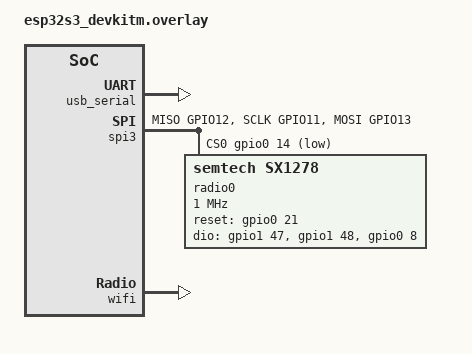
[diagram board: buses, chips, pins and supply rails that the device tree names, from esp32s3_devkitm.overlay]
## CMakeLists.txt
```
cmake_minimum_required(VERSION 3.13.1)
find_package(Zephyr REQUIRED HINTS $ENV{ZEPHYR_BASE})

project(app)

add_compile_definitions(RADIOLIB_EXCLUDE_CC1101 RADIOLIB_EXCLUDE_SX126X RADIOLIB_EXCLUDE_RF69 RADIOLIB_EXCLUDE_RFM2X RADIOLIB_EXCLUDE_SX1233)
add_compile_definitions(RADIOLIB_EXCLUDE_SX1231 RADIOLIB_EXCLUDE_SX128X RADIOLIB_EXCLUDE_SI443X RADIOLIB_EXCLUDE_NRF24)
add_compile_definitions(RADIOLIB_EXCLUDE_FSK4)

file(GLOB_RECURSE radiolib_sources
  "./lib/radiolib/src/*.cpp"
)

file(GLOB_RECURSE radiolib_zephyr_sources
  "./lib/radiolib/zephyr/src/*.cpp" 
)

file(GLOB_RECURSE zephyr_radio_driver_sources
  "./lib/radiolib/zephyr/src/drivers/radio/*.c" 
)

#add_subdirectory(./lib/radiolib)
#zephyr_compile_options(-DCONFIG_ESP_SYSTEM_GDBSTUB_RUNTIME)
target_sources(app PRIVATE src/main.cpp src/wifi.c src/config_mgr.c src/controller.c src/mqtt_thread.c src/radio.cpp ${radiolib_sources} ${radiolib_zephyr_sources} ${zephyr_radio_driver_sources})
```

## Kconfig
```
# Copyright (c) 2021 Nordic Semiconductor ASA
# SPDX-License-Identifier: Apache-2.0
#
# This file is the application Kconfig entry point. All application Kconfig
# options can be defined here or included via other application Kconfig files.
# You can browse these options using the west targets menuconfig (terminal) or
# guiconfig (GUI).

menu "Zephyr"
source "Kconfig.zephyr"
endmenu

module = GETSMART
module-str = GS
source "subsys/logging/Kconfig.template.log_config"

module = GETSMARTRADIO
module-str = GSR
source "subsys/logging/Kconfig.template.log_config"
```

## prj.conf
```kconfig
CONFIG_CPP=y

# For Ra-02 (SX1278 433Mhz) Module
CONFIG_SPI=y
CONFIG_GPIO=y

# Kernel options
#CONFIG_MAIN_STACK_SIZE=2048
CONFIG_ENTROPY_GENERATOR=y
CONFIG_TEST_RANDOM_GENERATOR=y
CONFIG_INIT_STACKS=y

CONFIG_SYS_HEAP_RUNTIME_STATS=y
CONFIG_THREAD_RUNTIME_STATS=y
#CONFIG_MEMORY_STATS=y

# Logging
CONFIG_LOG=y
CONFIG_PRINTK=y
CONFIG_LOG_MODE_IMMEDIATE=y
CONFIG_UART_CONSOLE=n
CONFIG_SERIAL=y
CONFIG_CONSOLE=y
# CONFIG_LOG_DEFAULT_LEVEL=4
# CONFIG_LOG_OVERRIDE_LEVEL=4

# Generic networking options



# Enable Wifi
CONFIG_NET_CONFIG_AUTO_INIT=n
CONFIG_NETWORKING=y
CONFIG_NET_LOG=y
CONFIG_WIFI=y
CONFIG_NET_L2_WIFI_MGMT=y
CONFIG_NET_DHCPV4=y
CONFIG_NET_L2_ETHERNET=y

CONFIG_NET_UDP=y
CONFIG_NET_TCP=y
CONFIG_NET_IPV6=n
CONFIG_NET_IPV4=y
CONFIG_NETWORKING=y
CONFIG_NET_SOCKETS=y
CONFIG_POSIX_API=y

CONFIG_POSIX_MAX_FDS=6
CONFIG_NET_CONNECTION_MANAGER=y
CONFIG_NET_STATISTICS=y

# Network buffers
CONFIG_NET_PKT_RX_COUNT=16
CONFIG_NET_PKT_TX_COUNT=16
CONFIG_NET_BUF_RX_COUNT=64
CONFIG_NET_BUF_TX_COUNT=64
CONFIG_NET_CONTEXT_NET_PKT_POOL=y

# IP address options
CONFIG_NET_MAX_CONTEXTS=10

# Network shell
CONFIG_NET_SHELL=y
CONFIG_SHELL=y
CONFIG_SHELL_CMDS=y


# Network application options and configuration
CONFIG_NET_CONFIG_SETTINGS=y

# Testing on qemu Only
#CONFIG_NET_CONFIG_NEED_IPV6=y
#CONFIG_NET_CONFIG_MY_IPV6_ADDR="2001:db8::1"
#CONFIG_NET_CONFIG_PEER_IPV6_ADDR="2001:db8::2"
#CONFIG_NET_CONFIG_NEED_IPV4=y
# CONFIG_NET_CONFIG_MY_IPV4_ADDR="192.0.2.1"
# CONFIG_NET_CONFIG_MY_IPV4_NETMASK="255.255.255.0"
# CONFIG_NET_CONFIG_MY_IPV4_GW="192.0.2.2"
# CONFIG_NET_CONFIG_PEER_IPV4_ADDR="192.0.2.2"

#MQTT Client
CONFIG_MQTT_LIB=y
#CONFIG_MQTT_LOG_LEVEL_DBG=y

# JSON Library
CONFIG_JSON_LIBRARY=y

#NVS & Flash for Config Storage
CONFIG_FLASH=y
CONFIG_FLASH_PAGE_LAYOUT=y

CONFIG_NVS=y
CONFIG_NVS_LOG_LEVEL_DBG=y
CONFIG_MPU_ALLOW_FLASH_WRITE=y
    
CONFIG_ZBUS=y
# CONFIG_ZBUS_LOG_LEVEL_DBG=y
# CONFIG_ZBUS_CHANNEL_NAME=y
# CONFIG_ZBUS_OBSERVER_NAME=y

CONFIG_ZBUS_RUNTIME_OBSERVERS=y

#CONFIG_DEBUG_COREDUMP=y 
#CONFIG_DEBUG_COREDUMP_BACKEND_LOGGING=y 


CONFIG_WATCHDOG=y
#CONFIG_ESP32_WATCHDOG=y
CONFIG_WDT_DISABLE_AT_BOOT=n
```

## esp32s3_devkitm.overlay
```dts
/ {
	aliases {
		radio0 = &radio0;
	};
};

/ {
chosen {
	zephyr,console = &usb_serial;
	zephyr,shell-uart = &usb_serial;
	};
};

&usb_serial {
	status = "okay";
};


&pinctrl {
	spim3_default: spim3_default {
		group1 {
			pinmux = <SPIM3_MISO_GPIO12>,
				 <SPIM3_SCLK_GPIO11>;
		};
		group2 {
			pinmux = <SPIM3_MOSI_GPIO13>;
			output-low;
		};
	};
};

&spi3 {
	#address-cells = <1>;
	#size-cells = <0>;
	status = "okay";
	pinctrl-0 = <&spim3_default>;
	pinctrl-names = "default";
	cs-gpios = <&gpio0 14 GPIO_ACTIVE_LOW>;
	radio0: radio@0 {
		compatible = "semtech,sx1278";
		reg = <0>;
		reset-gpios = <&gpio0 21 GPIO_ACTIVE_HIGH>;
		dio-gpios =
			/* SX1278 D00 */
			<&gpio1 47 (GPIO_PULL_DOWN | GPIO_ACTIVE_HIGH)>,
			/* SX1278 D01 */
			<&gpio1 48 (GPIO_PULL_DOWN | GPIO_ACTIVE_HIGH)>,
			/* SX1278 D02  */
			<&gpio0 8 (GPIO_PULL_DOWN | GPIO_ACTIVE_HIGH)>;
		/* manual-cs-gpios = <&gpio0 14 GPIO_ACTIVE_LOW>; */
		spi-max-frequency = <1000000>;
		/* power-amplifier-output = "pa-boost"; */
	};
};
	
&wifi {
	status = "okay";
};

/ {
    aliases {
        watchdog0 = &wdt0;
    };
};
```

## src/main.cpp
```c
#include <app_version.h>
#include <stdlib.h>
#include <string.h>
#include <zephyr/device.h>
#include <zephyr/kernel.h>
#include <zephyr/logging/log.h>
#include <zephyr/net/mqtt.h>
#include <zephyr/zbus/zbus.h>
#include <zephyr/drivers/watchdog.h>

#include "config_mgr.h"
#include "controller.h"
#include "mqtt_thread.h"
#include "radio.h"
#include "wifi.h"

controller_t *controller;

ZBUS_CHAN_DEFINE(chan_state_updates,   /* Name */
                 struct state_update,  /* Message type */
                 NULL,                 /* Validator */
                 NULL,                 /* User data */
                 ZBUS_OBSERVERS_EMPTY, /* observers */
                 ZBUS_MSG_INIT(.channel = -1, .state = -1, .brightness = -1));

/* 1000 msec = 1 sec */
#define WDT_FEED_INTERVAL_MS 1000

LOG_MODULE_REGISTER(gs, CONFIG_GETSMART_LOG_LEVEL);

extern "C"
{
  int main(void)
  {
    LOG_INF("GET Smart Wireless Lighting System Controller (%s) \n",
            APP_VERSION_STRING);

    const struct device *wdt;
    int wdt_channel_id;
    struct wdt_timeout_cfg wdt_config = {
        .window = {
            .min = 0,
            .max = 10000, // 10 seconds timeout
        },
        .callback = NULL, // NULL means system reset on timeout
        .flags = WDT_FLAG_RESET_SOC,
    };

    wdt = DEVICE_DT_GET(DT_ALIAS(watchdog0));
    if (!device_is_ready(wdt))
    {
      LOG_ERR("Watchdog device not ready");
      return -1;
    }

    wdt_channel_id = wdt_install_timeout(wdt, &wdt_config);
    if (wdt_channel_id < 0)
    {
      LOG_ERR("Watchdog install error");
      return -1;
    }

    if (wdt_setup(wdt, 0) < 0)
    {
      LOG_ERR("Watchdog setup error");
      return -1;
    }

    wifi_init();

    LOG_INF("Sleeping so wifi can connect");
    k_sleep(K_MSEC(5000));
    wdt_feed(wdt, wdt_channel_id);
    k_sleep(K_MSEC(5000));

    /* Setup the device config */
    /* TODO Move to board? */
    int res = cfg_init();
    if (res < 0)
    {
      LOG_INF("Failed to init configuration.");
      return res;
    }
    cfg_inc_boot();
    cfg_print();

    static char device_id[CFG_SIZE_DEVICEID_ID];
    // static char *device_id = "0f3def"

    cfg_get_value(CFG_DEVICEID_ID, &device_id, CFG_SIZE_DEVICEID_ID);

    controller = (controller_t *)malloc(sizeof(controller_t));
    controller->num_lights = 2; // TODO
    controller->device_id = device_id;
    controller->state_update_channel = (struct zbus_channel *)&chan_state_updates;

    // LOG_INF("radio pointer (main): %p", (void *)&controller->radio);

    mqtt_thread_init(controller);

    radio_init();

    while (1)
    {
      k_sleep(K_SECONDS(1));
      wdt_feed(wdt, wdt_channel_id);
    }

    return 0;
  }
}
```

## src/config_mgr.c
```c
#include "config_mgr.h"

#include <errno.h>
#include <string.h>
#include <sys/types.h>
#include <zephyr/drivers/flash.h>
#include <zephyr/fs/nvs.h>
#include <zephyr/logging/log.h>
#include <zephyr/storage/flash_map.h>

LOG_MODULE_DECLARE(gs, CONFIG_GETSMART_LOG_LEVEL);

/* 1000 msec = 1 sec */
#define SLEEP_TIME 100

#define NVS_PARTITION storage_partition
#define NVS_PARTITION_DEVICE FIXED_PARTITION_DEVICE(NVS_PARTITION)
#define NVS_PARTITION_OFFSET FIXED_PARTITION_OFFSET(NVS_PARTITION)

/* Maximum length of srtings in config */
#define VALUE_STRING_MAXLEN 128

static struct nvs_fs fs;
static bool initialized = false;

// static default_device_id = DEFAULT_DEVICE_ID;
static char default_device_id[CFG_SIZE_DEVICEID_ID] = DEFAULT_DEVICE_ID;

// sys_rand_get(void *dst, size_t len)

static void cfg_set_defaults()
{
  LOG_INF("Setting default config values.");
  uint32_t reboot_counter = 0U;
  int rc = 0;
  rc = cfg_get_value(CFG_REBOOTCNT_ID, &reboot_counter, sizeof(reboot_counter));
  if (rc <= 0)
  {
    LOG_INF("No Reboot counter found, adding it at slot %d\n",
            CFG_REBOOTCNT_ID);
    cfg_set_value(CFG_REBOOTCNT_ID, &reboot_counter, sizeof(reboot_counter));
  }

  char device_id[CFG_SIZE_DEVICEID_ID];
  rc = cfg_get_value(CFG_DEVICEID_ID, &device_id, CFG_SIZE_DEVICEID_ID);
  if (rc <= 0)
  {
    LOG_INF("No device id found, adding it '%s' at slot %d\n", &  default_device_id, CFG_DEVICEID_ID);
    cfg_set_value(CFG_DEVICEID_ID, &default_device_id,
                  strlen(default_device_id) + 1);
  }
}

int cfg_init()
{
  if (initialized)
  {
    return -ENOTSUP;
  }
  int rc = 0;
  struct flash_pages_info info;

  /* define the nvs file system by settings with:
   *      sector_size equal to the pagesize,
   *      3 sectors
   *      starting at NVS_PARTITION_OFFSET
   */
  fs.flash_device = NVS_PARTITION_DEVICE;
  if (!device_is_ready(fs.flash_device))
  {
    printk("Flash device %s is not ready\n", fs.flash_device->name);
    return -1;
  }
  fs.offset = NVS_PARTITION_OFFSET;
  rc = flash_get_page_info_by_offs(fs.flash_device, fs.offset, &info);
  if (rc)
  {
    printk("Unable to get page info\n");
    return -1; // TODO
  }
  fs.sector_size = info.size;
  fs.sector_count = 4U;

  rc = nvs_mount(&fs);
  if (rc)
  {
    printk("Flash Init failed. ERRNO: %d\n", rc);
    return -1; // TODO
  }
  cfg_set_defaults();
  initialized = true;
  return 0;
}

ssize_t cfg_get_value(int key, void *value, int len)
{
  return nvs_read(&fs, key, value, len);
}

ssize_t cfg_set_value(int key, void *value, int len)
{
  return nvs_write(&fs, key, value, len);
}

void cfg_print()
{
  uint32_t reboot_counter = 0U;
  cfg_get_value(CFG_REBOOTCNT_ID, &reboot_counter, sizeof(reboot_counter));
  LOG_INF("Config Slot [%d] - CFG_REBOOTCNT_ID: %d", CFG_REBOOTCNT_ID,
          reboot_counter);

  char device_id[VALUE_STRING_MAXLEN];
  cfg_get_value(CFG_DEVICEID_ID, &device_id, CFG_SIZE_DEVICEID_ID);
  LOG_INF("Config Slot [%d] - CFG_DEVICEID_ID: %s", CFG_DEVICEID_ID, device_id);
}

/* Increment the device boot count*/
bool cfg_inc_boot()
{
  uint32_t reboot_counter = 0U;
  int rc = 0;
  rc = cfg_get_value(CFG_REBOOTCNT_ID, &reboot_counter, sizeof(reboot_counter));
  if (rc <= 0)
  {
    return false;
  }
  reboot_counter++;
  rc = cfg_set_value(CFG_REBOOTCNT_ID, &reboot_counter, sizeof(reboot_counter));
  if (rc <= 0)
  {
    return false;
  }
  return true;
}
```

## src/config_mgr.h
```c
#ifndef __GET_CONFIG_MGR__
#define __GET_CONFIG_MGR__
#include <stdbool.h>
#include <sys/types.h>

/* Config Keys */
#define CFG_REBOOTCNT_ID 1
#define CFG_DEVICEID_ID 2

#define CFG_SIZE_DEVICEID_ID 7

// #if defined(CONFIG_WIFI)
// #else
#define DEFAULT_DEVICE_ID "0f3def"
// #endif

#ifdef __cplusplus
extern "C"
{
#endif

    int cfg_init();
    void cfg_print();
    bool cfg_inc_boot();
    ssize_t cfg_get_value(int key, void *value, int len);
    ssize_t cfg_set_value(int key, void *value, int len);

#ifdef __cplusplus
}
#endif

#endif /*__GET_CONFIG_MGR__*/
```

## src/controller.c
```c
#include "controller.h"

#include <stdint.h>
#include <stdlib.h>
#include <zephyr/kernel.h>
#include <zephyr/logging/log.h>
#include <zephyr/zbus/zbus.h>

#include "radio.h"

LOG_MODULE_DECLARE(gs, CONFIG_GETSMART_LOG_LEVEL);

static const uint8_t pulses[] = PULSESEQ;

static uint8_t code_to_tx_payload(uint8_t *seq, uint8_t len_seq,
                                  uint8_t **msg) {
  LOG_INF("Code to payload, %d", len_seq);
  LOG_HEXDUMP_INF(seq, len_seq, "Seq: ");

  *msg = (uint8_t *)malloc(TRANSMIT_BUF_SIZE);

  (*msg)[0] = 0x54;
  (*msg)[1] = 0x2A;
  (*msg)[2] = 0xAA;
  (*msg)[3] = 0xA5;
  (*msg)[4] = 0x55;
  (*msg)[5] = 0x55;

  uint32_t code = 0x40000000;
  uint8_t bit = 27;
  for (int i = 0; i < len_seq; i++) {
    for (int j = seq[i]; j > 0; j--) {
      code |= 1 << bit;
      bit -= 2;
    }
    bit -= 1;
  }
  // code |= 1 << (bit - 2);

  (*msg)[6] = code >> 24;
  (*msg)[7] = code >> 16;
  (*msg)[8] = code >> 8;
  (*msg)[9] = code;
  (*msg)[10] = 0x00;  // TODO: Not part of the message, needs more testing
  return TRANSMIT_BUF_SIZE;
}

/**
 * Convert the Channel and OP code combo to the bytes to be transmitted
 * by the radio.
 */
static uint8_t get_radio_msg(uint8_t channel, uint8_t op, uint8_t pulse_no,
                             uint8_t **msg) {
  // Get the pattern to be transmitted
  uint8_t seq[PLUSESEQ_SIZE - 1];
  uint8_t len_seq;

  uint8_t index =
      ((channel * ROWS_PER_CHANNEL) + pulse_no + op) * PLUSESEQ_SIZE;

  // First byte of the "row" is length of the pluse sequence
  memcpy(&len_seq, &pulses, sizeof(uint8_t));
  LOG_INF("Len of seq is:%d", len_seq);

  // remainder of row is the actual sequence for this channel/op combo
  LOG_INF("Coping from index %d",
          (channel * PLUSESEQ_SIZE) + op + 1 + pulse_no);

  memcpy(&seq, pulses + index + 1, sizeof(uint8_t) * len_seq);

  // Convert it to the actual byte sequence to be transmitted
  return code_to_tx_payload((uint8_t *)&seq, len_seq, msg);
}

/**
 * Publish the state update message on the zbus
 */
static void update_state(struct controller *controller, int channel, int state,
                         int brightness) {
  controller->state[channel].state = state,
  controller->state[channel].brightness = brightness;

  struct state_update update = {channel, state, brightness};
  int res =
      zbus_chan_pub(controller->state_update_channel, &(update), K_FOREVER);
  LOG_INF("Updated State: channel %d, status:%d, brightness %d, Published: %d",
          channel, state, brightness, res);
}

static int ctlr_on(struct controller *controller, int channel) {
  LOG_INF("Radio Send: Channel %d, Code: ON", channel);
  uint8_t *msg = NULL;
  uint8_t len = get_radio_msg(channel, OP_ON, 0, &msg);
  LOG_HEXDUMP_INF(msg, TRANSMIT_BUF_SIZE, "Msg: ");
  radio_tx_repeat(msg, len, 4);
  free(msg);
  update_state(controller, channel, STATE_ON, DIM_LEVELS);
  return 0;
}

static int ctlr_off(struct controller *controller, int channel) {
  LOG_INF("Radio Send: Channel %d, Code: OFF", channel);
  uint8_t *msg = NULL;
  uint8_t len = get_radio_msg(channel, OP_OFF, 0, &msg);
  radio_tx_repeat(msg, len, 4);
  free(msg);
  update_state(controller, channel, STATE_OFF, 0);
  return 0;
}

static int ctlr_dim_up(struct controller *controller, int channel, int steps) {
  LOG_INF("Radio Send: Channel %d, Dim Up: %d", channel, steps);
  uint8_t *msg0 = NULL;
  uint8_t *msg1 = NULL;

  uint8_t len0 = get_radio_msg(channel, OP_DIM_DOWN, 0, &msg0);
  uint8_t len1 = get_radio_msg(channel, OP_DIM_DOWN, 1, &msg1);

  for (int i = 0; i < steps; i++) {
    radio_tx(msg0, len0);
    radio_tx(msg1, len1);
    k_sleep(K_MSEC(5));
  }

  free(msg0);
  free(msg1);

  update_state(controller, channel, STATE_ON,
               controller->state[channel].brightness + steps);
  return 0;
}

static int ctlr_dim_down(struct controller *controller, int channel,
                         int steps) {
  LOG_INF("Radio Send: Channel %d, Dim Down: %d", channel, steps);
  uint8_t *msg0 = NULL;
  uint8_t *msg1 = NULL;
  uint8_t len0 = get_radio_msg(channel, OP_DIM_DOWN, 0, &msg0);
  uint8_t len1 = get_radio_msg(channel, OP_DIM_DOWN, 1, &msg1);

  radio_tx(msg0, len0);
  radio_tx(msg1, len1);

  for (int i = 0; i < steps; i++) {
    radio_tx(msg0, len0);
    radio_tx(msg1, len1);
    k_sleep(K_MSEC(5));
  }
  free(msg0);
  free(msg1);
  update_state(controller, channel, STATE_ON,
               controller->state[channel].brightness - steps);
  return 0;
}

/**
 * Transmit the required radio signals to transition the lights
 * from current state to the requested, and if successful publish
 * the new state on the zbus.
 */
int request_state(struct controller *controller, int channel, int state,
                  bool set_brightness, int brightness) {
  LOG_INF("Current State: status:%d, brightness %d",
          controller->state[channel].state,
          controller->state[channel].brightness);
  LOG_INF("Request State: status:%d, brightness %d", state, brightness);

  if (channel >= controller->num_lights) {
    LOG_ERR("Light for channel %d not configured.", channel);
    return -EINVAL;
  }

  if (controller->state[channel].state != state) {
    if (state == STATE_ON) {
      ctlr_on(controller, channel);
    } else {
      ctlr_off(controller, channel);
    }
  }
  if (set_brightness && controller->state[channel].brightness != brightness) {
    if (brightness <= 1) {
      // ctlr_off(controller, channel);
    } else if (brightness > DIM_LEVELS) {
      LOG_ERR("Cannot exceed %d brightness levels", DIM_LEVELS);
    } else {
      int diff = brightness - controller->state[channel].brightness;
      if (diff > 0) {
        ctlr_dim_up(controller, channel, diff);
      } else {
        ctlr_dim_down(controller, channel, abs(diff));
      }
    }
  }

  return 0;
}
```

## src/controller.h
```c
#ifndef __CONTROLLER__
#define __CONTROLLER__
#include <stdbool.h>
#include <stdint.h>
#include <zephyr/kernel.h>
#include <zephyr/zbus/zbus.h>

/** Controller Channels (i.e. 4 Lights or Scenes) */

#define CHANNEL_0 0
#define CHANNEL_1 1
#define CHANNEL_2 2
#define CHANNEL_3 3
#define CHANNEL_COUNT 4  // I only have 2 lights

/** Controller Operations (as transmitted by the remote switch) */
#define OP_ON 0
#define OP_OFF 1
#define OP_DIM_UP 2
#define OP_DIM_DOWN 3
#define OP_COUNT 4

#define STATE_OFF 0
#define STATE_ON 1

/** Number of button presses to go from full brightness to off */
#define DIM_LEVELS 64

#define ROWS_PER_CHANNEL 6
/**
 * Each row has a Pulse Sequence Length, followed by the sequence
 * of 1s that get transmitted before another 0 gets transmitted.
 *
 * Lists all the Controller Operations for each channel beginning
 * at OP_ON for CHANNEL_0
 */
// clang-format off
#define PULSESEQ {4, 4, 3, 1, 2, 0, 0, \
                  2, 4, 6, 0, 0, 0, 0, \
                  4, 4, 1, 1, 0, 0, 0, \
                  6, 5, 1, 1, 1, 1, 1, \
                  4, 4, 3, 2, 1, 0, 0, \
                  6, 5, 1, 1, 1, 1, 1, \
                  4, 3, 4, 1, 2, 0, 0, \
                  2, 3, 7, 0, 0, 0, 0, \
                  3, 3, 5, 1, 1, 0, 0, \
                  6, 5, 1, 1, 1, 1, 1, \
                  4, 3, 4, 2, 1, 0, 0, \
                  6, 5, 1, 1, 1, 1, 1} 
 // clang-format on    

/** Size of a row above */
#define PLUSESEQ_SIZE 7

/* Number of byes in the actual message transmitted by the radio*/
#define TRANSMIT_BUF_SIZE 11

struct light_state {
  int state;
  int brightness;
};

typedef struct controller {
  struct zbus_channel *state_update_channel;
  char* device_id;
  uint8_t num_lights;
  struct light_state state[CHANNEL_COUNT];
} controller_t;

struct state_update {
  int channel;
  int state;
  int brightness;
};

typedef struct f_sum {
  sys_snode_t snode;
  struct state_update su;
} f_sum_t;

#ifdef __cplusplus
extern "C" {
#endif

int request_state(struct controller *controller, int channel, int state,
                  bool set_brightness, int brightness);

#ifdef __cplusplus
}
#endif

#endif /* __CONTROLLER__ */
```

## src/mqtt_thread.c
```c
#include <stdbool.h>
#include <stdio.h>
#include <stdlib.h>
#include <string.h>
#include <zephyr/data/json.h>
#include <zephyr/kernel.h>
#include <zephyr/logging/log.h>
#include <zephyr/net/mqtt.h>
#include <zephyr/net/net_context.h>
#include <zephyr/net/net_core.h>
#include <zephyr/net/net_mgmt.h>
#include <zephyr/net/socket.h>
#include <zephyr/random/random.h>
#include <zephyr/sys/printk.h>
#include <zephyr/zbus/zbus.h>

#include "controller.h"

LOG_MODULE_DECLARE(gs, CONFIG_GETSMART_LOG_LEVEL);

#define MQTT_HA_DISCOVER_TOPIC "homeassistant/light/getsmart/%s-%d/config"
#define MQTT_STATE_TOPIC "getsmart/device/%s/channel/%d/state"
#define MQTT_COMMAND_TOPIC "getsmart/device/%s/channel/%d/cmnd"

#define MQTT_UPDATE_STATE_PAYLOAD "{\"state\":\"%s\", \"brightness\":%d}"

#define MQTT_HA_DISCOVER_PAYLOAD                                              \
  "{\"name\":\"%s\",\"unique_id\":\"%s\", "                                   \
  "\"command_topic\":\"%s\",\"state_topic\":\"%s\","                          \
  "\"schema\":\"json\",\"brightness\":true,\"brightness_scale\":64,"          \
  "\"device\": {\"identifiers\": \"[%s]\",\"name\":\"Get Smart Controller\" " \
  "} }"

#define MQTT_STATE_ON "ON"

typedef struct msg_command
{
  char *state;
  int brightness;
} msg_command_t;

static const struct json_obj_descr msg_command_descr[] = {
    JSON_OBJ_DESCR_PRIM(struct msg_command, state, JSON_TOK_STRING),
    JSON_OBJ_DESCR_PRIM(struct msg_command, brightness, JSON_TOK_NUMBER),
};

/* Thread Stack */
#define STACKSIZE 4096
#define APP_MQTT_BUFFER_SIZE 128
#define CONFIG_MQTT_PAYLOAD_BUFFER_SIZE 4256

K_THREAD_STACK_DEFINE(mqtt_thread_stack, STACKSIZE);

K_MUTEX_DEFINE(sock_lock);

/* Thread Data */
struct k_thread mqtt_thread_data;

/* MQTT Client Struct */
static struct mqtt_client client;

/* MQTT Client Connection Status */
static bool is_connected = false;
static bool is_ha_published = false;
static bool is_cmnd_subscribed = false;

/* pointer to the controller */
static controller_t *controller;

/* MQTT Broker details. */
static struct sockaddr_storage broker;

/* MQTT Broker Details */
static const char server_addr[] = "192.168.0.10";
// static const char server_addr[] = "192.168.1.71";
static uint16_t server_port = 1883;
static const char *username = "demonday";
static const char *password = "armad1ll0";

static struct mqtt_utf8 username_utf8;
static struct mqtt_utf8 password_utf8;

/* Client Identifer TODO: Based on MAC*/
static const char *client_id = "get-smart-MAC";

/* Buffers for MQTT client. */
static uint8_t rx_buffer[APP_MQTT_BUFFER_SIZE];
static uint8_t tx_buffer[APP_MQTT_BUFFER_SIZE];
static uint8_t payload_buf[CONFIG_MQTT_PAYLOAD_BUFFER_SIZE];

#define SOCKET_TIMEOUT_MS 2000

/* File descriptor for socket */
static struct pollfd fds;

int fds_init(struct pollfd *fds)
{
  if (client.transport.type == MQTT_TRANSPORT_NON_SECURE)
  {
    fds->fd = client.transport.tcp.sock;
  }
  else
  {
    return -ENOTSUP;
  }

  fds->events = POLLIN;

  return 0;
}

static void data_print(uint8_t *prefix, uint8_t *data, size_t len)
{
  char buf[len + 1];

  memcpy(buf, data, len);
  buf[len] = 0;
  LOG_INF("%s%s", (char *)prefix, (char *)buf);
}

static int get_received_payload(size_t length)
{
  int ret;
  int err = 0;

  /* Return an error if the payload is larger than the payload buffer.
   * Note: To allow new messages, we have to read the payload before returning.
   */
  if (length > sizeof(payload_buf))
  {
    err = -EMSGSIZE;
  }

  /* Truncate payload until it fits in the payload buffer. */
  while (length > sizeof(payload_buf))
  {
    ret = mqtt_read_publish_payload_blocking(&client, payload_buf,
                                             (length - sizeof(payload_buf)));
    if (ret == 0)
    {
      return -EIO;
    }
    else if (ret < 0)
    {
      return ret;
    }

    length -= ret;
  }

  ret = mqtt_readall_publish_payload(&client, payload_buf, length);
  if (ret)
  {
    return ret;
  }

  return err;
}

static void extract_device_info(const char *topic_name, char **device_id,
                                int *channel)
{
  // getsmart/device/0f3def/channel/0/cmnd

  char *token, *temp_str;
  int count = 0;

  // Ensure the input string is not NULL
  if (topic_name == NULL)
  {
    return;
  }

  // Duplicate the string since strtok modifies the string
  // temp_str =  strdup(topic_name);

  temp_str = malloc(strlen(topic_name));
  strcpy(temp_str, topic_name);
  if (temp_str == NULL)
  {
    LOG_INF("strcpy failed.");
    return;
  }

  token = strtok(temp_str, "/");

  while (token != NULL)
  {
    count++;
    if (count == 3)
    { // Assuming device_id is always the 4 token
      *device_id = malloc(strlen(topic_name));
      strcpy(*device_id, token);
      //*device_id = strdup(token);
      if (*device_id == NULL)
      {
        // Handle memory allocation failure
        free(temp_str);
        return;
      }
    }
    if (count == 5)
    { // Assuming the channel is always the 5
      *channel = atoi(token);
      break;
    }
    token = strtok(NULL, "/");
  }

  free(temp_str); // Free the temporary string
}

static void handle_msg_command(char *topic_name, char *msg)
{
  char *device_id = NULL;
  int channel = 0;

  extract_device_info(topic_name, &device_id, &channel);

  if (device_id == NULL)
  {
    LOG_ERR("Unable to obtain deviceid from message. Skipping");
    return;
  }

  struct msg_command command;
  int ret = json_obj_parse(msg, strlen(msg), msg_command_descr,
                           sizeof(msg_command_descr), &command);

  bool set_brightness = (ret == 3);
  if (ret != 3)
  {
    LOG_DBG("No brightness in MQTT state message");
  }

  LOG_INF("Device:%s, Channel:%d, State: %s, Brightness: %d", device_id,
          channel, command.state, command.brightness);

  int state =
      (strcmp(command.state, MQTT_STATE_ON) == 0) ? STATE_ON : STATE_OFF;
  request_state(controller, channel, state, set_brightness, command.brightness);

  if (device_id != NULL)
  {
    free(device_id); // Free the device_id string
  }
}

/* Subscribe to the MQTT Topic(s) to control the device */
static int subscribe_cmnds()
{
  struct mqtt_topic topic_list[4];

  for (int i = 0; i < controller->num_lights; i++)
  {
    char buf[256];
    sprintf(buf, MQTT_COMMAND_TOPIC, controller->device_id, i);
    char *topic_name = malloc(strlen(buf) + 1);
    strcpy(topic_name, buf);
    LOG_INF("Created Topic %s", topic_name);

    struct mqtt_topic subscribe_topic = {
        .topic = {.utf8 = topic_name, .size = strlen(topic_name)},
        .qos = MQTT_QOS_1_AT_LEAST_ONCE};

    topic_list[i] = subscribe_topic;
    LOG_INF("Subscribing to: %s len %u", topic_name,
            (unsigned int)strlen(topic_name));
  }

  const struct mqtt_subscription_list subscription_list = {
      .list = (struct mqtt_topic *)&topic_list,
      .list_count = controller->num_lights,
      .message_id = 1234};

  int res = mqtt_subscribe(&client, &subscription_list);

  // for (int i = 0; i < controller->num_lights; i++) {
  //   free((void *)topic_list[i].topic.utf8);
  // }

  return res;
}

// static int unsubscribe_cmnds(struct mqtt_client *const client) {
//   return 0;  // TODO
// }

int publish_hadiscover()
{
  struct mqtt_publish_param param;
  int res = 0;
  for (int i = 0; i < controller->num_lights; i++)
  {
    char buf[512];

    sprintf(buf, MQTT_HA_DISCOVER_TOPIC, controller->device_id, i);
    char *topic_name = malloc(strlen(buf));
    strcpy(topic_name, buf);

    sprintf(buf, MQTT_COMMAND_TOPIC, controller->device_id, i);
    char *tn_cmnd = malloc(strlen(buf));
    strcpy(tn_cmnd, buf);

    sprintf(buf, MQTT_STATE_TOPIC, controller->device_id, i);
    char *tn_state = malloc(strlen(buf));
    strcpy(tn_state, buf);

    char device_id[20];
    sprintf(device_id, "%s-%d", controller->device_id, i);

    char device_name[40];
    sprintf(device_name, "Get Smart Light  - Channel %d", i);

    sprintf(buf, MQTT_HA_DISCOVER_PAYLOAD, device_name, device_id, tn_cmnd,
            tn_state, controller->device_id);
    char *payload = malloc(strlen(buf));
    strcpy(payload, buf);

    param.message.topic.qos = MQTT_QOS_0_AT_MOST_ONCE;
    param.message.topic.topic.utf8 = (uint8_t *)topic_name;
    param.message.topic.topic.size = strlen(param.message.topic.topic.utf8);
    param.message.payload.data = (uint8_t *)payload;
    param.message.payload.len = strlen(param.message.payload.data);
    param.message_id = sys_rand32_get();
    param.dup_flag = 0U;
    param.retain_flag = 0U;

    k_mutex_lock(&sock_lock, K_FOREVER);
    LOG_INF("Publishing to %s", topic_name);
    res = mqtt_publish(&client, &param);
    k_mutex_unlock(&sock_lock);

    free(topic_name);
    free(tn_cmnd);
    free(tn_state);
    free(payload);

    if (res != 0)
    {
      LOG_ERR("Error - Publish HA Discover: %d", res);
      return res;
    }
  }
  return 0;
}

int publish_state_update(struct state_update *su)
{
  struct mqtt_publish_param param;

  char topic_name[256];
  sprintf(topic_name, MQTT_STATE_TOPIC, controller->device_id, su->channel);

  char payload[256];
  sprintf(payload, MQTT_UPDATE_STATE_PAYLOAD,
          (su->state == STATE_ON) ? "ON" : "OFF", su->brightness);

  param.message.topic.qos = MQTT_QOS_0_AT_MOST_ONCE;
  param.message.topic.topic.utf8 = (uint8_t *)&topic_name;
  param.message.topic.topic.size = strlen(param.message.topic.topic.utf8);
  param.message.payload.data = (uint8_t *)&payload;
  param.message.payload.len = strlen(param.message.payload.data);
  param.message_id = sys_rand32_get();
  param.dup_flag = 0U;
  param.retain_flag = 0U;

  // LOG_INF("Calling publish");
  k_mutex_lock(&sock_lock, K_FOREVER);
  // LOG_INF("Mutex - P - L");
  LOG_INF("Publishing state update to %s", topic_name);
  int res = mqtt_publish(&client, &param);
  k_mutex_unlock(&sock_lock);
  // LOG_INF("Mutex - P - U");
  if (res != 0)
  {
    LOG_ERR("Error - Publish Result: %d", res);
  }

  return res;
}

ZBUS_SUBSCRIBER_DEFINE(state_update_subscriber, 4);

static void mqtt_subscriber_task(void)
{
  const struct zbus_channel *chan;

  while (!zbus_sub_wait(&state_update_subscriber, &chan, K_FOREVER))
  {
    struct state_update update;

    if (controller->state_update_channel == chan)
    {
      zbus_chan_read(controller->state_update_channel, &update, K_FOREVER);

      LOG_INF("From subscriber -> %d,%d,%d", update.channel, update.state,
              update.brightness);

      publish_state_update(&update);
    }
  }
}

K_THREAD_DEFINE(subscriber_task_id, CONFIG_MAIN_STACK_SIZE,
                mqtt_subscriber_task, NULL, NULL, NULL, 3, 0, 0);

/* MQTT Message Handler */
void mqtt_message_handler(struct mqtt_client *, const struct mqtt_evt *evt)
{
  int err;
  LOG_INF("Started processing event type %d\n", evt->type);

  switch (evt->type)
  {
  case MQTT_EVT_CONNACK:
    if (evt->result != 0)
    {
      LOG_INF("MQTT connect failed %d\n", evt->result);
    }
    else
    {
      LOG_INF("MQTT client connected!\n");
      is_connected = true;
      err = subscribe_cmnds();
      if (err)
      {
        LOG_INF("State TOPIC Subscription request failed %d\n", err);
      }
      err = publish_hadiscover();
      if (err)
      {
        LOG_INF("State HA Publish failed %d\n", err);
      }
    }
    break;

  case MQTT_EVT_PUBLISH:
    const struct mqtt_publish_param *p = &evt->param.publish;
    LOG_INF("Received message on TOPIC: %s, result=%d len=%d",
            p->message.topic.topic.utf8, evt->result, p->message.payload.len);

    // Extract the data of the recived message
    err = get_received_payload(p->message.payload.len);
    //  On successful extraction of data
    if (err >= 0)
    {
      data_print("Received: ", payload_buf, p->message.payload.len);
      handle_msg_command((char *)p->message.topic.topic.utf8, payload_buf);
      // On failed extraction of data - Payload buffer is smaller than the
      // recived data . Increase
    }
    else if (err == -EMSGSIZE)
    {
      LOG_ERR(
          "Received payload (%d bytes) is larger than the payload buffer "
          "size (%d bytes).",
          p->message.payload.len, sizeof(payload_buf));
    }
    else
    {
      LOG_ERR("get_received_payload failed: %d. Don't send any acks...", err);
      break;
    }

    /* Send the appropiate QoS response */
    if (evt->param.publish.message.topic.qos == MQTT_QOS_1_AT_LEAST_ONCE)
    {
      const struct mqtt_puback_param ack = {
          .message_id = evt->param.publish.message_id};
      mqtt_publish_qos1_ack(&client, &ack);
    }
    else if (evt->param.publish.message.topic.qos ==
             MQTT_QOS_2_EXACTLY_ONCE)
    {
      const struct mqtt_pubrec_param rec = {
          .message_id = evt->param.publish.message_id};
      mqtt_publish_qos2_receive(&client, &rec);
    }
    break;

  case MQTT_EVT_PUBREC:
    if (evt->param.pubrec.message_id == 1234)
    {
      const struct mqtt_pubrel_param rel = {.message_id =
                                                evt->param.pubrec.message_id};
      mqtt_publish_qos2_release(&client, &rel);
    }
    break;

  case MQTT_EVT_PUBREL:
    if (evt->param.pubrel.message_id == 1234)
    {
      const struct mqtt_pubcomp_param comp = {
          .message_id = evt->param.pubrel.message_id};
      err = mqtt_publish_qos2_complete(&client, &comp);
      if (err)
      {
        LOG_INF("Failed to send PUBCOMP, error: %d\n", err);
      }
    }
    break;

  case MQTT_EVT_PUBCOMP:
    if (evt->param.pubcomp.message_id == 1234)
    {
      LOG_INF("QoS 2 message flow completed!\n");
    }
    break;

  case MQTT_EVT_SUBACK:
    if (evt->result != 0)
    {
      LOG_ERR("MQTT SUBACK error %d", evt->result);
      break;
    }

    LOG_INF("SUBACK packet id: %u", evt->param.suback.message_id);
    break;

  case MQTT_EVT_DISCONNECT:
    LOG_INF("MQTT client disconnected %d", evt->result);
    is_connected = false;
    break;

  case MQTT_EVT_PINGRESP:
    LOG_INF("PINGRESP packet");
    break;

  default:
    LOG_INF("Unhandled MQTT event %d\n", evt->type);
    break;
  }
  LOG_INF("Done with event type %d\n", evt->type);
}

/* MQTT Thread Function */
void mqtt_thread(void *arg1, void *arg2, void *arg3)
{
  // controller_t *controller = arg2;
  int err;
  LOG_INF("Starting thread...");
  /* Broker Details */
  struct sockaddr_in *broker4 = (struct sockaddr_in *)&broker;
  broker4->sin_family = AF_INET;
  broker4->sin_port = htons(server_port);
  zsock_inet_pton(AF_INET, server_addr, &broker4->sin_addr);

  LOG_INF("Broker Config set");

  /* MQTT client configuration */
  client.broker = &broker;
  LOG_INF("Broker Configured in client...");

  client.client_id.utf8 = (uint8_t *)client_id;
  client.client_id.size = strlen(client_id);
  LOG_INF("ClientId configured...");

  client.user_name = &username_utf8;
  client.password = &password_utf8;

  // client.user_name->utf8 = username;
  // client.user_name->size = strlen(username);
  // client.password->utf8 = password;
  // client.password->size = strlen(password);
  // client->client_id.utf8 = (uint8_t *)MQTT_CLIENTID;
  // client->client_id.size = strlen(MQTT_CLIENTID);
  // client->password->utf8 = (uint8_t *)MQTT_PASSWORD;
  // client->password->size = strlen(MQTT_PASSWORD);
  // client->user_name->utf8 = (uint8_t *)MQTT_USERNAME;
  // client->user_name->size = strlen(MQTT_USERNAME);
  client.protocol_version = MQTT_VERSION_3_1_1;
  client.transport.type = MQTT_TRANSPORT_NON_SECURE;

  LOG_INF("Client stings configured...");

  username_utf8.utf8 = (uint8_t *)username;
  username_utf8.size = strlen(username);

  password_utf8.utf8 = (uint8_t *)password;
  password_utf8.size = strlen(password);

  client.user_name = &username_utf8;
  client.password = &password_utf8;

  /* MQTT buffers configuration */
  client.rx_buf = rx_buffer;
  LOG_INF("rxbuffer.");
  client.rx_buf_size = sizeof(rx_buffer);
  client.tx_buf = tx_buffer;
  LOG_INF("txbuffer.");
  client.tx_buf_size = sizeof(tx_buffer);

  LOG_INF("Attempting to connect...");

  /* Connect to MQTT broker */
  err = mqtt_connect(&client);
  if (err)
  {
    LOG_INF("Unable to connect to MQTT broker\n");
    return;
  }
  LOG_INF("Connected...");

  // err = subscribe_cmnds();
  // if (err) {
  //   LOG_INF("State TOPIC Subscription request failed %d\n", err);
  //   return;
  // }

  // err = publish_hadiscover();
  // if (err) {
  //   LOG_INF("Publish HA Discover request failed %d\n", err);
  //   return;
  // }

  err = fds_init(&fds);
  if (err)
  {
    LOG_ERR("Error in fds_init: %d", err);
    return;
  }

  /* Polling and event loop */
  while (1)
  {
    k_mutex_lock(&sock_lock, K_FOREVER);
    // LOG_INF("Mutex - L - L");
    err = poll(&fds, 1, 500);
    // LOG_INF("Poll Done: %d", 500);
    if (err < 0)
    {
      LOG_ERR("Error in poll(): %d", errno);
      k_mutex_unlock(&sock_lock);
      break;
    }

    err = mqtt_live(&client);
    if ((err != 0) && (err != -EAGAIN))
    {
      LOG_ERR("Error in mqtt_live: %d", err);
      k_mutex_unlock(&sock_lock);
      break;
    }

    if ((fds.revents & POLLIN) == POLLIN)
    {
      LOG_INF("Input");
      err = mqtt_input(&client);
      if (err != 0)
      {
        LOG_ERR("Error in mqtt_input: %d", err);
        break;
        k_mutex_unlock(&sock_lock);
      }
    }

    if ((fds.revents & POLLERR) == POLLERR)
    {
      LOG_ERR("POLLERR");
      k_mutex_unlock(&sock_lock);
      break;
    }

    if ((fds.revents & POLLNVAL) == POLLNVAL)
    {
      LOG_ERR("POLLNVAL");
      k_mutex_unlock(&sock_lock);
      break;
    }
    k_mutex_unlock(&sock_lock);

    if (!is_connected)
    {
      mqtt_abort(&client);
    }
  }
}

int mqtt_thread_init(controller_t *ctrl)
{
  controller = ctrl;
  mqtt_client_init(&client);
  /* Initialize MQTT client */
  k_mutex_init(&sock_lock);
  client.evt_cb = mqtt_message_handler;

  // subscribe for controller state update messages so they can be
  // published to Home Assistant via MQTT.
  zbus_chan_add_obs(controller->state_update_channel, &state_update_subscriber,
                    K_MSEC(200));

  k_thread_create(&mqtt_thread_data, mqtt_thread_stack,
                  K_THREAD_STACK_SIZEOF(mqtt_thread_stack), mqtt_thread, NULL,
                  NULL, NULL, K_PRIO_PREEMPT(7), 0, K_NO_WAIT);

  return 0;
}
```

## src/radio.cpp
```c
#include <stdlib.h>
#include <zephyr/logging/log.h>

#include "../lib/radiolib/src/RadioLib.h"
#include "../lib/radiolib/zephyr/src/ZephyrHal.h"
#include "../lib/radiolib/zephyr/src/ZephyrModule.h"

LOG_MODULE_REGISTER(gs_radio, CONFIG_GETSMART_LOG_LEVEL);

#define DEFAULT_RADIO_NODE DT_ALIAS(radio0)
BUILD_ASSERT(DT_NODE_HAS_STATUS(DEFAULT_RADIO_NODE, okay),
             "No default sx1278 radio specified in DT");

SX1278* fsk;

extern "C" {
int radio_init() {
  const struct device* radio_dev = DEVICE_DT_GET(DEFAULT_RADIO_NODE);
  LOG_INF("[%s] Checking SPI Ready...", radio_dev->name);
  if (!device_is_ready(radio_dev)) {
    LOG_ERR("[%s] Device Not Ready.", radio_dev->name);
    return -1;
  }
  LOG_INF("[%s] Device Ready.", radio_dev->name);

  ZephyrHal* hal = new ZephyrHal(radio_dev);
  LOG_INF("Hal Ready.");

  // TODO: How can I init the module with the radio device Params
  // fsk = new SX1278(new Module(hal, RADIOLIB_NC, 47, 21, 48));
  fsk = new SX1278(new ZephyrModule(hal));

  LOG_INF("Initializing FSK ...");
  int state = fsk->beginFSK(433.978, 1.6, 30.0, 7.8, 8, 0, false);
  if (state != RADIOLIB_ERR_NONE) {
    LOG_ERR("beginFSK failed, code %d", state);
    return (1);
  }
  LOG_INF("beginFSK success!");
  fsk->setGain(1);
  return 0;
}

int radio_tx_repeat(uint8_t* msg, uint8_t len, uint8_t count) {
  for (int i = 0; i < count; i++) {
    LOG_HEXDUMP_INF(msg, len, "TX:");
    fsk->transmit(msg, len);
  }
  return 0;
}
int radio_tx(uint8_t* msg, uint8_t len) { return radio_tx_repeat(msg, len, 1); }
}
```

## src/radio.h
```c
#ifdef __cplusplus
extern "C" {
#endif

int radio_init();
int radio_tx(uint8_t* msg, uint8_t len);
int radio_tx_repeat(uint8_t* msg, uint8_t len, uint8_t count);

#ifdef __cplusplus
}
#endif
```

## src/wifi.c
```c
#include <errno.h>
#include <stdio.h>
#include <stdlib.h>
#include <string.h>
#include <zephyr/kernel.h>
#include <zephyr/logging/log.h>
#include <zephyr/net/net_event.h>
#include <zephyr/net/net_if.h>
#include <zephyr/net/wifi_mgmt.h>
#include <zephyr/net/net_ip.h>

#include "wifi.h"

// #define SSID "ALHN-A898"
// #define PASSWORD "XA5nh7pZXf"

#define SSID "VM3517472"
#define PASSWORD "bts7Np7mcyMw"

#define WIFI_RECONNECT_DELAY_MS 5000
#define WIFI_DHCP_RENEW_INTERVAL_MS (60 * 60 * 1000) // 1 hour

LOG_MODULE_REGISTER(wifi, CONFIG_LOG_DEFAULT_LEVEL);

static struct net_mgmt_event_callback wifi_mgmt_cb;
static struct net_mgmt_event_callback ip_mgmt_cb;
static struct k_work_delayable wifi_reconnect_work;
static struct k_work_delayable wifi_dhcp_renew_work;

static void wifi_schedule_dhcp_renew(void);

static void schedule_wifi_reconnect(void)
{
  LOG_INF("Scheduling WiFi reconnection in %d ms", WIFI_RECONNECT_DELAY_MS);
  k_work_schedule(&wifi_reconnect_work, K_MSEC(WIFI_RECONNECT_DELAY_MS));
}

static void wifi_reconnect_work_handler(struct k_work *work)
{
  LOG_INF("Attempting to reconnect to WiFi network");
  wifi_sta_connect();
}

static void wifi_dhcp_renew_work_handler(struct k_work *work)
{
  struct net_if *iface = net_if_get_first_wifi();

  if (!iface)
  {
    LOG_ERR("Failed to get default network interface for DHCP renew");
    return;
  }

  LOG_INF("Requesting DHCP renewal");
  net_dhcpv4_start(iface);
  LOG_INF("DHCP renewal request sent");

  wifi_schedule_dhcp_renew();
}

static void wifi_schedule_dhcp_renew(void)
{
  LOG_INF("Scheduling next DHCP renewal in %d ms", WIFI_DHCP_RENEW_INTERVAL_MS);
  k_work_schedule(&wifi_dhcp_renew_work, K_MSEC(WIFI_DHCP_RENEW_INTERVAL_MS));
}

static void handle_wifi_connect_result(const struct wifi_status *status)
{
  if (!status)
  {
    LOG_ERR("WiFi connect result: NULL status received");
    return;
  }

  if (status->status)
  {
    LOG_ERR("Connection request failed with status code: %d", status->status);
    schedule_wifi_reconnect();
  }
  else
  {
    struct net_if *iface = net_if_get_first_wifi();

    LOG_INF("Successfully connected to WiFi network");
    wifi_status();
    net_dhcpv4_start(iface);
    wifi_schedule_dhcp_renew();
  }
}

static void handle_wifi_disconnect_result(const struct wifi_status *status)
{
  if (!status)
  {
    LOG_ERR("WiFi disconnect result: NULL status received");
    return;
  }

  if (status->status)
  {
    LOG_WRN("Disconnection requested with status code: %d", status->status);
  }
  else
  {
    LOG_INF("Disconnected from WiFi network");
  }

  schedule_wifi_reconnect();
}

static void handle_ipv4_result(struct net_if *iface)
{
  if (!iface || !iface->config.ip.ipv4)
  {
    LOG_ERR("Invalid iface or ipv4 config");
    return;
  }

  LOG_INF("Processing IPv4 address assignment for interface: %p", iface);

  for (int i = 0; i < NET_IF_MAX_IPV4_ADDR; i++)
  {
    const struct net_if_addr_ipv4 *ipv4_addr = &iface->config.ip.ipv4->unicast[i];
    char buf[NET_IPV4_ADDR_LEN];

    LOG_INF("IPv4 Address: %s", net_addr_ntop(AF_INET, &ipv4_addr->ipv4.address.in_addr.s4_addr, buf, sizeof(buf)));
    struct in_addr netmask = net_if_ipv4_get_netmask_by_addr(iface, &ipv4_addr->ipv4.address.in_addr);
    LOG_INF("Subnet Mask: %s", net_addr_ntop(AF_INET, &netmask, buf, sizeof(buf)));
    LOG_INF("Default Gateway: %s", net_addr_ntop(AF_INET, &iface->config.ip.ipv4->gw, buf, sizeof(buf)));
  }
}

static void wifi_mgmt_event_handler(struct net_mgmt_event_callback *cb, uint32_t mgmt_event, struct net_if *iface)
{
  if (!cb)
  {
    LOG_ERR("Net management event callback is NULL");
    return;
  }

  switch (mgmt_event)
  {
  case NET_EVENT_WIFI_CONNECT_RESULT:
    LOG_INF("Received NET_EVENT_WIFI_CONNECT_RESULT");
    handle_wifi_connect_result((const struct wifi_status *)cb->info);
    break;
  case NET_EVENT_WIFI_DISCONNECT_RESULT:
    LOG_INF("Received NET_EVENT_WIFI_DISCONNECT_RESULT");
    handle_wifi_disconnect_result((const struct wifi_status *)cb->info);
    break;
  default:
    LOG_WRN("Unhandled wifi event: 0x%x", mgmt_event);
    break;
  }
}

static void ip_mgmt_event_handler(struct net_mgmt_event_callback *cb, uint32_t mgmt_event, struct net_if *iface)
{
  LOG_INF("ip_mgmt_event_handler called with event: 0x%x", mgmt_event);

  if (!cb)
  {
    LOG_ERR("Net management event callback is NULL");
    return;
  }
  
  switch (mgmt_event)
  {
  case NET_EVENT_IPV4_ADDR_ADD:
  case NET_EVENT_IPV4_DHCP_BOUND:
    LOG_INF("Received NET_EVENT_IPV4 address event");
    handle_ipv4_result(iface);
    break;
  case NET_EVENT_IPV4_ADDR_DEL:
    LOG_WRN("IPv4 address was removed! Scheduling reconnect.");
    schedule_wifi_reconnect();
    break;
  case NET_EVENT_IPV4_DHCP_STOP:
    LOG_WRN("DHCP client stopped unexpectedly! Scheduling reconnect.");
    schedule_wifi_reconnect();
    break;
  case NET_EVENT_IPV4_CMD_DHCP_START:
    LOG_INF("Started DHCP client successfully.");
    break;
  default:
    LOG_WRN("Unhandled IP event: 0x%x", mgmt_event);
    break;
  }
}

void wifi_status(void)
{
  struct net_if *iface = net_if_get_default();
  struct wifi_iface_status status = {0};

  if (!iface)
  {
    LOG_ERR("Failed to get default network interface");
    return;
  }

  if (net_mgmt(NET_REQUEST_WIFI_IFACE_STATUS, iface, &status, sizeof(status)))
  {
    LOG_ERR("WiFi Status Request Failed");
    return;
  }

  if (status.state >= WIFI_STATE_ASSOCIATED)
  {
    LOG_INF("WiFi Interface Status:");
    LOG_INF("SSID: %-32s", status.ssid);
    LOG_INF("Band: %s", wifi_band_txt(status.band));
    LOG_INF("Channel: %d", status.channel);
    LOG_INF("Security: %s", wifi_security_txt(status.security));
    LOG_INF("RSSI: %d dBm", status.rssi);
  }
  else
  {
    LOG_INF("WiFi not associated yet");
  }
}

static int wifi_sta_connect(void)
{
  struct net_if *iface = net_if_get_first_wifi();

  if (!iface)
  {
    LOG_ERR("No WiFi interface found. Aborting connection attempt.");
    return -ENODEV;
  }

  static struct wifi_connect_req_params cnx_params = {0};

  cnx_params.channel = WIFI_CHANNEL_ANY;
  cnx_params.ssid = SSID;
  cnx_params.ssid_length = strlen(SSID);
  cnx_params.psk = PASSWORD;
  cnx_params.psk_length = strlen(PASSWORD);
  cnx_params.security = WIFI_SECURITY_TYPE_PSK;
  cnx_params.band = WIFI_FREQ_BAND_2_4_GHZ;
  cnx_params.mfp = WIFI_MFP_DISABLE;

  LOG_INF("Initiating connection to SSID: %s", cnx_params.ssid);

  if (net_mgmt(NET_REQUEST_WIFI_CONNECT, iface, &cnx_params, sizeof(cnx_params)))
  {
    LOG_ERR("WiFi connection request failed");
    return -ENETDOWN;
  }

  return 0;
}

int wifi_init(void)
{
  LOG_INF("Initializing WiFi subsystem on board: %s", CONFIG_BOARD);

  net_mgmt_init_event_callback(&wifi_mgmt_cb, wifi_mgmt_event_handler,
                               NET_EVENT_WIFI_CONNECT_RESULT |
                                   NET_EVENT_WIFI_DISCONNECT_RESULT);
  net_mgmt_add_event_callback(&wifi_mgmt_cb);

  net_mgmt_init_event_callback(&ip_mgmt_cb, ip_mgmt_event_handler,
                               NET_EVENT_IPV4_ADDR_ADD |
                                   NET_EVENT_IPV4_ADDR_DEL |
                                   NET_EVENT_IPV4_DHCP_STOP |
                                   NET_EVENT_IPV4_DHCP_BOUND);
  net_mgmt_add_event_callback(&ip_mgmt_cb);

  k_work_init_delayable(&wifi_reconnect_work, wifi_reconnect_work_handler);
  k_work_init_delayable(&wifi_dhcp_renew_work, wifi_dhcp_renew_work_handler);

  k_sleep(K_MSEC(500));

  wifi_sta_connect();

  LOG_INF("WiFi subsystem initialization complete");
  return 0;
}
```

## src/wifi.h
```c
#include <zephyr/net/net_if.h>

#ifdef __cplusplus
extern "C"
{
#endif

    static int wifi_sta_connect(void);
    static void handle_ipv4_result(struct net_if *iface);
    int wifi_init();
    void wifi_status();

#ifdef __cplusplus
}
#endif
```
